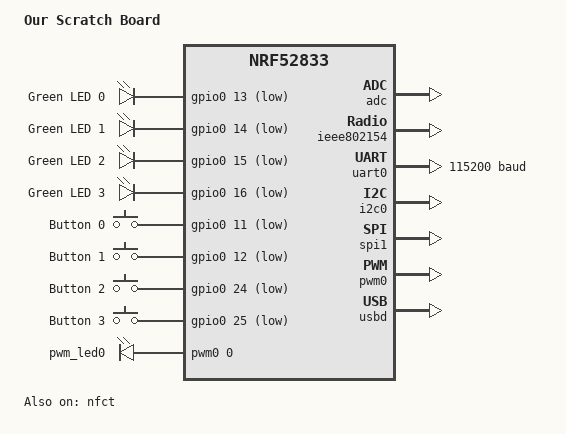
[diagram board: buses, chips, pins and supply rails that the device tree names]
/dts-v1/;
#include <nordic/nrf52833_qiaa.dtsi>
#include "our_scratch_board-pinctrl.dtsi"

/ {
    model = "Our Scratch Board";
    compatible = "iomico,our-board";

    chosen {
        zephyr,console = &uart0;
        zephyr,sram = &sram0;
        zephyr,flash = &flash0;
        zephyr,code-partition = &slot0_partition;
        zephyr,console=&uart0;
        zephyr,shell-uart = &uart0;
        zephyr,uart-mcumgr=&uart0;
        zephyr,bt-mon-uart = &uart0;
		zephyr,bt-c2h-uart = &uart0;
        zephyr,ieee802154 = &ieee802154;
    };

    leds {
        compatible = "gpio-leds";
        led0: led_0 {
            label = "Green LED 0";
            gpios = <&gpio0 13 GPIO_ACTIVE_LOW>;
        };
        led1: led_1 {
            label = "Green LED 1";
            gpios = <&gpio0 14 GPIO_ACTIVE_LOW>;
        };
        led2: led_2 {
            label = "Green LED 2";
            gpios = <&gpio0 15 GPIO_ACTIVE_LOW>;
        };
        led3: led_3 {
            label = "Green LED 3";
            gpios = <&gpio0 16 GPIO_ACTIVE_LOW>;
        };
    };

    buttons {
        compatible = "gpio-keys";
        button0: button_0 {
            label = "Button 0";
            gpios = <&gpio0 11 (GPIO_ACTIVE_LOW | GPIO_PULL_UP)>;
        };
        button1: button_1 {
            label = "Button 1";
            gpios = <&gpio0 12 (GPIO_ACTIVE_LOW | GPIO_PULL_UP)>;
        };
        button2: button_2 {
            label = "Button 2";
            gpios = <&gpio0 24 (GPIO_ACTIVE_LOW | GPIO_PULL_UP)>;
        };
        button3: button_3 {
            label = "Button 3";
            gpios = <&gpio0 25 (GPIO_ACTIVE_LOW | GPIO_PULL_UP)>;
        };
    };

    pwmleds {
        compatible = "pwm-leds";
        pwm_led0: pwm_led_0 {
            pwms = <&pwm0 0 PWM_MSEC(20) PWM_POLARITY_INVERTED>;
        };
    };

    aliases {
        led0 = &led0;
        led1 = &led1;
        led2 = &led2;
        led3 = &led3;
        pwm-led0 = &pwm_led0;
        sw0 = &button0;
        sw1 = &button1;
        sw2 = &button2;
        sw3 = &button3;
        bootloader-led0 = &led0;
        mcuboot-button0 = &button0;
        mcuboot-led0 = &led0;
        watchdog0 = &wdt0;
    };
};

&flash0 {
    partitions {
        compatible = "fixed-partitions";
        #address-cells = <1>;
        #size-cells = <1>;

        boot_partition: partition@0 {
			label = "mcuboot";
			reg = <0x0 0xc000>;
		};
		slot0_partition: partition@c000 {
			label = "image-0";
			reg = <0xc000 0x32000>;
		};
		slot1_partition: partition@3e000 {
			label = "image-1";
			reg = <0x3e000 0x32000>;
		};
		scratch_partition: partition@70000 {
			label = "image-scratch";
			reg = <0x70000 0xa000>;
		};
		storage_partition: partition@7a000 {
			label = "storage";
			reg = <0x7a000 0x6000>;
		};
    };
};

&reg1 {
	regulator-initial-mode = <NRF5X_REG_MODE_DCDC>;
};

&adc {
	status = "okay";
};

&uicr {
	gpio-as-nreset;
};

&nfct {
	status = "okay";
};

&gpio0 {
    status = "okay";
};

&gpio1 {
    status = "okay";
};

&gpiote {
    status = "okay";
};

&ieee802154 {
	status = "okay";
};

&uart0 {
    compatible = "nordic,nrf-uarte";
    status = "okay";
    current-speed = <115200>;
    pinctrl-0 = <&uart0_default>;
    pinctrl-1 = <&uart0_sleep>;
    pinctrl-names = "default", "sleep";
};

&i2c0 {
    status = "okay";
    pinctrl-0 = <&i2c0_default>;
    pinctrl-1 = <&i2c0_sleep>;
    pinctrl-names = "default", "sleep";
};

&spi1 {
    status = "okay";
    pinctrl-0 = <&spi1_default>;
    pinctrl-1 = <&spi1_sleep>;
    pinctrl-names = "default", "sleep";
};

&pwm0 {
    status = "okay";
    pinctrl-0 = <&pwm0_default>;
    pinctrl-1 = <&pwm0_sleep>;
    pinctrl-names = "default", "sleep";
};

zephyr_udc0: &usbd {
	compatible = "nordic,nrf-usbd";
	status = "okay";
};
